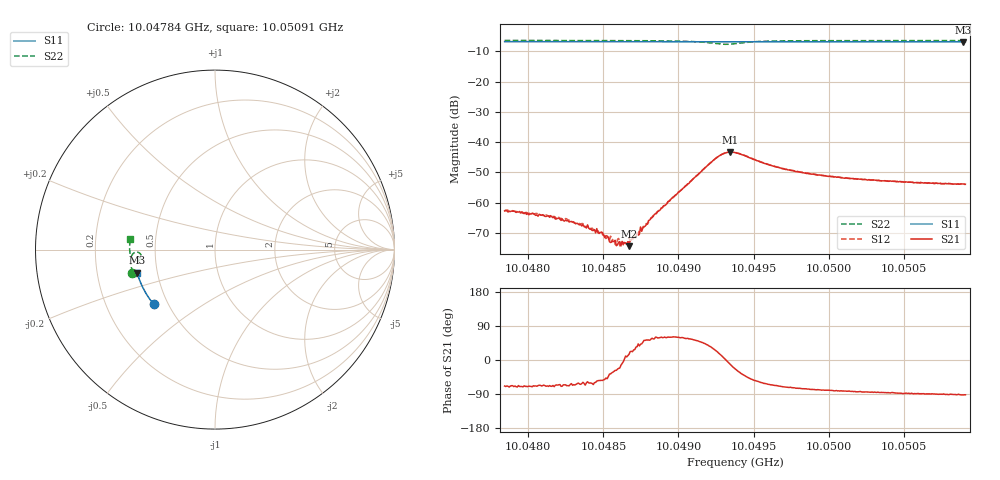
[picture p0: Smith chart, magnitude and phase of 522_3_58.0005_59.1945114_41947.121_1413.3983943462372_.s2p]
#  HZ  S  RI  R  50.00
! Rohde & Schwarz Vector Network Analyzer
! Rohde-Schwarz,ZNB20-2Port,1311601062101988,3.16
! Created: UTC 3/21/2024, 1:13:45 AM
! freq[Hz]  re:S11  im:S11  re:S21  im:S21  re:S12  im:S12  re:S22  im:S22
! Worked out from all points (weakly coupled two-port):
!   401 points, 10.04784 GHz to 10.05091 GHz, reference 50 ohm
!   highest |S21| = -43.32 dB at 10.04935 GHz (marker M1); lowest = -74.4 dB at 10.04867 GHz (marker M2)
!   lowest |S11| = -6.9 dB at 10.05089 GHz (marker M3), VSWR 2.65, Z = 19.2 - j6.21 ohm
!   |S11| at or under -10 dB: nowhere
!   |S22| runs from -7.7 to -6.4 dB; largest |S21 - S12| = 0.0005
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1.0047843e10  -0.3413 -0.3045  0.000264 -0.00068  0.000324 -0.00068  -0.4605 -0.1288
1.0048142e10  -0.3538 -0.2892  0.00022 -0.000531  0.000254 -0.000547  -0.4649 -0.1081
1.0048265e10  -0.3585 -0.2826  0.000193 -0.000465  0.000214 -0.000471  -0.4666 -0.0996
1.0048357e10  -0.3623 -0.2777  0.000192 -0.000363  0.000225 -0.000391  -0.4676 -0.0928
1.0048472e10  -0.3667 -0.2716  0.000181 -0.000251  0.000184 -0.000254  -0.4686 -0.0843
1.0048548e10  -0.3694 -0.2674  0.000176 -0.000131  0.000223 -0.000168  -0.4693 -0.0783
1.0048571e10  -0.3703 -0.2662  0.000198 -0.000114  0.000194 -0.000133  -0.4694 -0.0764
1.0048602e10  -0.3714 -0.2644  0.000206 -8.4e-05  0.00025 -5.19e-05  -0.4695 -0.0741
1.004864e10  -0.3728 -0.2623  0.000219 8.65e-06  0.000231 1.61e-05  -0.4698 -0.0708
1.0048671e10  -0.3741 -0.2607  0.000184 4.93e-05  0.000253 6.84e-05  -0.4698 -0.0683
1.0048725e10  -0.3758 -0.2577  0.000254 0.000177  0.000235 0.000212  -0.4698 -0.0637
1.0048817e10  -0.3792 -0.2525  0.000318 0.000453  0.000282 0.00048  -0.4694 -0.0552
1.004887e10  -0.381 -0.2495  0.000382 0.000624  0.000335 0.000665  -0.469 -0.0503
1.0049238e10  -0.3926 -0.2284  0.00456 0.0024  0.00437 0.0027  -0.4281 -0.0151
1.0049292e10  -0.394 -0.2255  0.00626 0.00105  0.00617 0.00143  -0.4138 -0.0272
1.0049346e10  -0.3958 -0.2226  0.00667 -0.00144  0.00681 -0.001  -0.4128 -0.048
1.0049377e10  -0.3967 -0.221  0.00616 -0.00265  0.0064 -0.00227  -0.4196 -0.0571
1.0049637e10  -0.4049 -0.2059  0.00157 -0.00365  0.00178 -0.00359  -0.4662 -0.0436
1.004989e10  -0.4117 -0.1907  0.000635 -0.00288  0.000824 -0.00288  -0.4739 -0.0182
1.0050404e10  -0.424 -0.1593  0.00013 -0.00225  0.000285 -0.00226  -0.4752 0.022
1.0050895e10  -0.4335 -0.1286  -7.9e-05 -0.00204  4.81e-05 -0.00204  -0.4726 0.0564
1.005091e10  -0.4337 -0.1277  -6.56e-05 -0.00201  6.26e-05 -0.00198  -0.4724 0.0574
